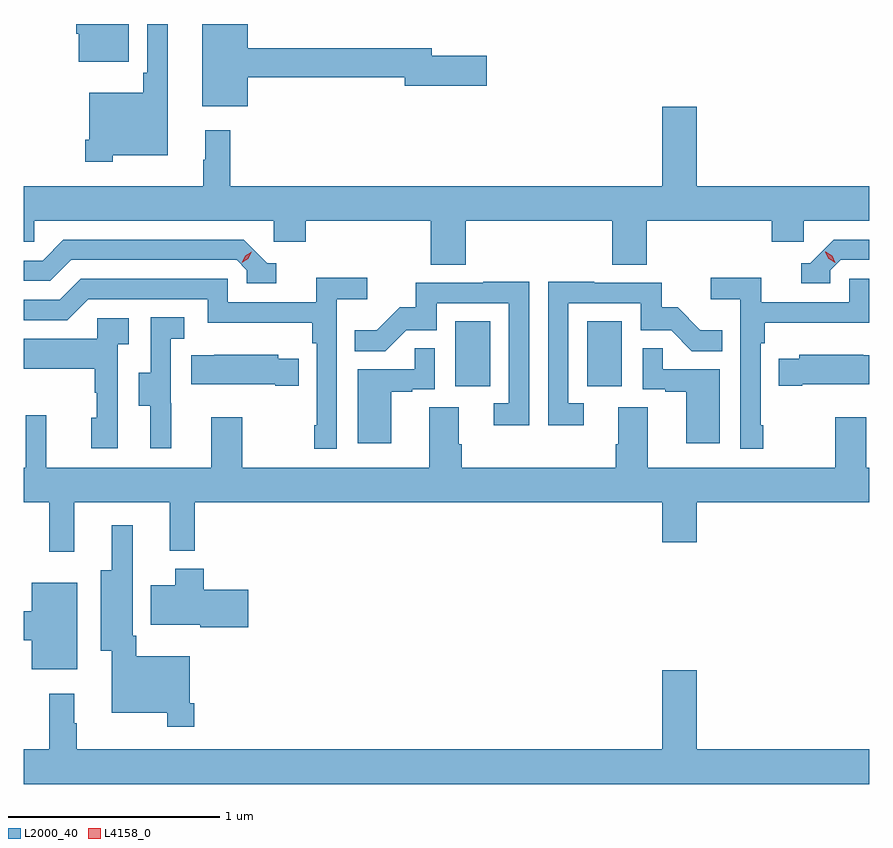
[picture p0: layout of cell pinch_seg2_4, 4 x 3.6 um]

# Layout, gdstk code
import gdstk
lib = gdstk.Library(unit=1e-6, precision=1e-09)
def R(c, l, rs):  # rectangles x0, y0, x1, y1
    for r in rs: c.add(gdstk.rectangle(r[:2], r[2:], *l))
def P(c, l, *ps):  # polygons
    for p in ps: c.add(gdstk.Polygon(p, *l))
L2000_40 = (2000, 40)
L4158_0 = (4158, 0)

pinch_seg2_4 = lib.new_cell('pinch_seg2_4')
R(pinch_seg2_4, L2000_40, [(1123.07,660.174,1123.234,660.481), (1123.694,660.174,1123.858,660.481)])
P(pinch_seg2_4, L2000_40, [(1122.088,661.636),(1122.83,661.636),(1122.83,661.594),(1123.219,661.594),(1123.219,661.736),(1122.958,661.736),(1122.958,661.772),(1122.088,661.772),(1122.088,661.887),(1121.873,661.887),(1121.873,661.499),(1122.088,661.499)],
  [(1121.449,661.265),(1121.71,661.265),(1121.71,661.887),(1121.613,661.887),(1121.613,661.657),(1121.593,661.657),(1121.593,661.561),(1121.339,661.561),(1121.339,661.339),(1121.32,661.339),(1121.32,661.235),(1121.449,661.235)],
  [(1121.524,661.887),(1121.276,661.887),(1121.276,661.842),(1121.288,661.842),(1121.288,661.709),(1121.524,661.709)],
  [(1122.005,661.384),(1121.888,661.384),(1121.888,661.244),(1121.877,661.244),(1121.877,661.12),(1121.028,661.12),(1121.028,660.858),(1121.079,660.858),(1121.079,660.956),(1122.21,660.956),(1122.21,660.858),(1122.362,660.858),(1122.362,660.956),(1122.953,660.956),(1122.953,660.748),(1123.118,660.748),(1123.118,660.956),(1123.811,660.956),(1123.811,660.748),(1123.976,660.748),(1123.976,660.956),(1124.567,660.956),(1124.567,660.858),(1124.718,660.858),(1124.718,660.956),(1125.028,660.956),(1125.028,661.12),(1124.212,661.12),(1124.212,661.495),(1124.048,661.495),(1124.048,661.12),(1122.005,661.12)],
  [(1124.844,660.723),(1124.892,660.771),(1125.028,660.771),(1125.028,660.867),(1124.859,660.867),(1124.748,660.756),(1124.705,660.756),(1124.705,660.66),(1124.844,660.66)],
  [(1122.223,660.756),(1122.18,660.756),(1122.069,660.867),(1121.216,660.867),(1121.117,660.768),(1121.028,660.768),(1121.028,660.672),(1121.154,660.672),(1121.253,660.771),(1122.036,660.771),(1122.084,660.723),(1122.084,660.66),(1122.223,660.66)],
  [(1122.51,660.584),(1122.652,660.584),(1122.652,660.686),(1122.413,660.686),(1122.413,660.57),(1121.994,660.57),(1121.994,660.681),(1121.297,660.681),(1121.198,660.582),(1121.028,660.582),(1121.028,660.486),(1121.235,660.486),(1121.334,660.585),(1121.898,660.585),(1121.898,660.473),(1122.394,660.473),(1122.394,660.377),(1122.414,660.377),(1122.414,659.989),(1122.402,659.989),(1122.402,659.877),(1122.51,659.877)],
  [(1124.527,659.989),(1124.514,659.989),(1124.514,660.377),(1124.534,660.377),(1124.534,660.473),(1125.028,660.473),(1125.028,660.681),(1124.934,660.681),(1124.934,660.57),(1124.516,660.57),(1124.516,660.686),(1124.277,660.686),(1124.277,660.584),(1124.418,660.584),(1124.418,659.877),(1124.527,659.877)],
  [(1123.678,660.093),(1123.605,660.093),(1123.605,660.567),(1123.947,660.567),(1123.947,660.438),(1124.091,660.438),(1124.189,660.34),(1124.333,660.34),(1124.333,660.439),(1124.229,660.439),(1124.122,660.546),(1124.046,660.546),(1124.046,660.663),(1123.727,660.663),(1123.727,660.668),(1123.509,660.668),(1123.509,659.988),(1123.678,659.988)],
  [(1123.419,660.668),(1123.201,660.668),(1123.201,660.663),(1122.883,660.663),(1122.883,660.546),(1122.806,660.546),(1122.699,660.439),(1122.595,660.439),(1122.595,660.34),(1122.739,660.34),(1122.837,660.438),(1122.981,660.438),(1122.981,660.567),(1123.323,660.567),(1123.323,660.093),(1123.251,660.093),(1123.251,659.988),(1123.419,659.988)],
  [(1121.726,660.093),(1121.724,660.093),(1121.724,660.397),(1121.788,660.397),(1121.788,660.5),(1121.628,660.5),(1121.628,660.237),(1121.573,660.237),(1121.573,660.082),(1121.627,660.082),(1121.627,659.88),(1121.726,659.88)],
  [(1121.472,660.371),(1121.524,660.371),(1121.524,660.495),(1121.376,660.495),(1121.376,660.397),(1121.029,660.397),(1121.029,660.257),(1121.364,660.257),(1121.364,660.143),(1121.374,660.143),(1121.374,660.024),(1121.348,660.024),(1121.348,659.88),(1121.472,659.88)],
  [(1122.766,660.147),(1122.866,660.147),(1122.866,660.159),(1122.972,660.159),(1122.972,660.353),(1122.877,660.353),(1122.877,660.255),(1122.608,660.255),(1122.608,659.904),(1122.766,659.904)],
  [(1124.32,660.255),(1124.051,660.255),(1124.051,660.353),(1123.956,660.353),(1123.956,660.159),(1124.063,660.159),(1124.063,660.147),(1124.162,660.147),(1124.162,659.904),(1124.32,659.904)],
  [(1124.71,660.182),(1125.028,660.182),(1125.028,660.319),(1124.999,660.319),(1124.999,660.322),(1124.697,660.322),(1124.697,660.304),(1124.599,660.304),(1124.599,660.175),(1124.71,660.175)],
  [(1122.329,660.304),(1122.231,660.304),(1122.231,660.322),(1121.929,660.322),(1121.929,660.319),(1121.821,660.319),(1121.821,660.182),(1122.218,660.182),(1122.218,660.175),(1122.329,660.175)],
  [(1121.135,660.037),(1121.037,660.037),(1121.037,659.788),(1121.028,659.788),(1121.028,659.624),(1121.149,659.624),(1121.149,659.391),(1121.267,659.391),(1121.267,659.624),(1121.72,659.624),(1121.72,659.396),(1121.837,659.396),(1121.837,659.624),(1124.048,659.624),(1124.048,659.436),(1124.212,659.436),(1124.212,659.624),(1125.028,659.624),(1125.028,659.788),(1125.013,659.788),(1125.013,660.028),(1124.866,660.028),(1124.866,659.788),(1123.981,659.788),(1123.981,660.074),(1123.841,660.074),(1123.841,659.9),(1123.829,659.9),(1123.829,659.788),(1123.1,659.788),(1123.1,659.9),(1123.087,659.9),(1123.087,660.074),(1122.947,660.074),(1122.947,659.788),(1122.063,659.788),(1122.063,660.028),(1121.915,660.028),(1121.915,659.788),(1121.135,659.788)],
  [(1121.834,658.675),(1121.814,658.675),(1121.814,658.897),(1121.561,658.897),(1121.561,658.993),(1121.543,658.993),(1121.543,659.515),(1121.444,659.515),(1121.444,659.302),(1121.393,659.302),(1121.393,658.922),(1121.444,658.922),(1121.444,658.628),(1121.706,658.628),(1121.706,658.563),(1121.834,658.563)],
  [(1122.091,659.211),(1121.879,659.211),(1121.879,659.311),(1121.744,659.311),(1121.744,659.233),(1121.63,659.233),(1121.63,659.045),(1121.862,659.045),(1121.862,659.033),(1122.091,659.033)],
  [(1121.281,659.245),(1121.066,659.245),(1121.066,659.108),(1121.028,659.108),(1121.028,658.972),(1121.066,658.972),(1121.066,658.835),(1121.281,658.835)],
  [(1125.028,658.456),(1124.212,658.456),(1124.212,658.831),(1124.048,658.831),(1124.048,658.456),(1121.278,658.456),(1121.278,658.58),(1121.266,658.58),(1121.266,658.72),(1121.149,658.72),(1121.149,658.456),(1121.028,658.456),(1121.028,658.292),(1125.028,658.292)])
P(pinch_seg2_4, L4158_0, [(1122.06,660.757),(1122.06,660.758),(1122.076,660.79),(1122.106,660.81),(1122.106,660.81),(1122.106,660.809),(1122.091,660.777),(1122.06,660.757)],
  [(1124.868,660.757),(1124.837,660.776),(1124.82,660.808),(1124.82,660.809),(1124.821,660.809),(1124.852,660.79),(1124.868,660.758),(1124.868,660.757)])

lib.write_gds('pinch_seg2_4.gds')
